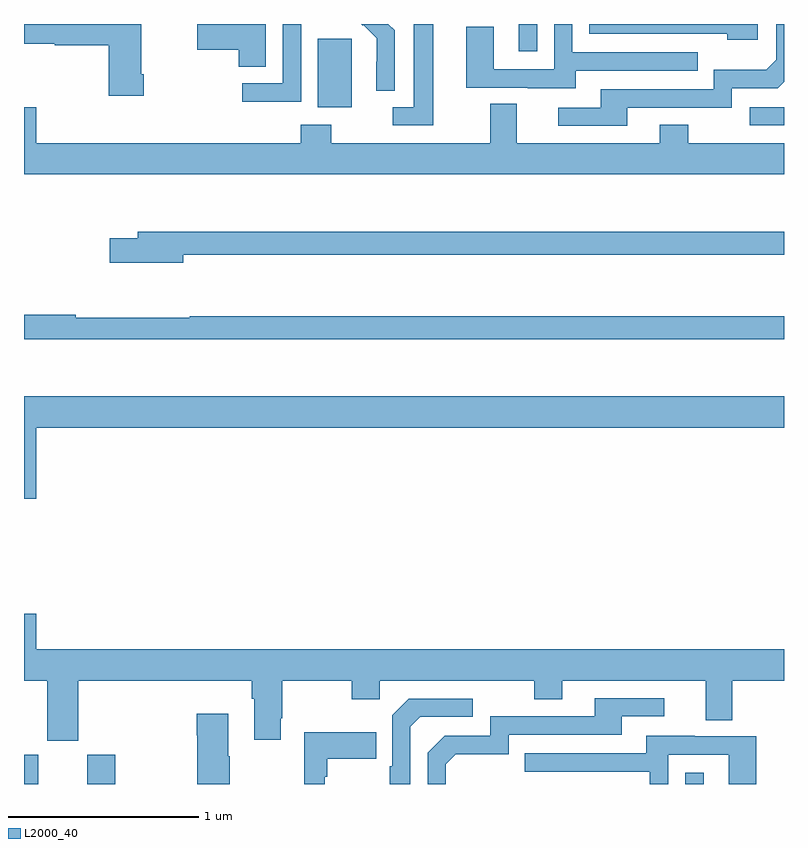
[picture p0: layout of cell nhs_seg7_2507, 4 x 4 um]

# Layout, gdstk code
import gdstk
lib = gdstk.Library(unit=1e-6, precision=1e-09)
def R(c, l, rs):  # rectangles x0, y0, x1, y1
    for r in rs: c.add(gdstk.rectangle(r[:2], r[2:], *l))
def P(c, l, *ps):  # polygons
    for p in ps: c.add(gdstk.Polygon(p, *l))
L2000_40 = (2000, 40)

nhs_seg7_2507 = lib.new_cell('nhs_seg7_2507')
R(nhs_seg7_2507, L2000_40, [(273,1072,273.076,1072.155), (273.332,1072,273.48,1072.155), (276.48,1072,276.577,1072.06), (276.819,1075.467,277,1075.563), (274.547,1075.562,274.726,1075.923), (275.603,1075.857,275.7,1076)])
P(nhs_seg7_2507, L2000_40, [(275.905,1075.755),(276.545,1075.755),(276.545,1075.851),(275.886,1075.851),(275.886,1076),(275.79,1076),(275.79,1075.761),(275.472,1075.761),(275.472,1075.985),(275.327,1075.985),(275.327,1075.665),(275.651,1075.665),(275.651,1075.661),(275.905,1075.661)],
  [(276.862,1076),(275.976,1076),(275.976,1075.95),(276.701,1075.95),(276.701,1075.916),(276.862,1075.916)],
  [(274.95,1075.966),(274.916,1076),(274.774,1076),(274.782,1075.992),(274.785,1075.995),(274.856,1075.925),(274.856,1075.802),(274.854,1075.802),(274.854,1075.648),(274.95,1075.648)],
  [(274.458,1076),(274.362,1076),(274.362,1075.689),(274.149,1075.689),(274.149,1075.591),(274.458,1075.591)],
  [(275.155,1076),(275.051,1076),(275.051,1075.563),(274.941,1075.563),(274.941,1075.467),(275.155,1075.467)],
  [(276.175,1075.56),(276.726,1075.56),(276.726,1075.662),(276.966,1075.662),(277,1075.696),(277,1076),(276.96,1076),(276.96,1075.812),(276.907,1075.759),(276.63,1075.759),(276.63,1075.656),(276.035,1075.656),(276.035,1075.56),(275.811,1075.56),(275.811,1075.464),(276.175,1075.464)],
  [(274.273,1076),(273.912,1076),(273.912,1075.865),(274.13,1075.865),(274.13,1075.774),(274.273,1075.774)],
  [(273.629,1075.735),(273.616,1075.735),(273.616,1076),(273,1076),(273,1075.896),(273.162,1075.896),(273.162,1075.888),(273.446,1075.888),(273.446,1075.623),(273.629,1075.623)],
  [(277,1075.372),(276.495,1075.372),(276.495,1075.471),(276.347,1075.471),(276.347,1075.372),(275.593,1075.372),(275.593,1075.58),(275.453,1075.58),(275.453,1075.372),(274.617,1075.372),(274.617,1075.471),(274.457,1075.471),(274.457,1075.372),(273.064,1075.372),(273.064,1075.561),(273,1075.561),(273,1075.208),(277,1075.208)],
  [(273.838,1074.786),(277,1074.786),(277,1074.907),(273.599,1074.907),(273.599,1074.873),(273.45,1074.873),(273.45,1074.743),(273.838,1074.743)],
  [(277,1074.463),(273.872,1074.463),(273.872,1074.455),(273.272,1074.455),(273.272,1074.47),(273,1074.47),(273,1074.342),(277,1074.342)],
  [(273.064,1073.876),(277,1073.876),(277,1074.04),(273,1074.04),(273,1073.502),(273.064,1073.502)],
  [(273.286,1072.544),(274.199,1072.544),(274.199,1072.448),(274.211,1072.448),(274.211,1072.233),(274.351,1072.233),(274.351,1072.345),(274.359,1072.345),(274.359,1072.544),(274.726,1072.544),(274.726,1072.445),(274.872,1072.445),(274.872,1072.544),(275.686,1072.544),(275.686,1072.445),(275.833,1072.445),(275.833,1072.544),(276.587,1072.544),(276.587,1072.336),(276.727,1072.336),(276.727,1072.544),(277,1072.544),(277,1072.708),(273.064,1072.708),(273.064,1072.897),(273,1072.897),(273,1072.544),(273.122,1072.544),(273.122,1072.227),(273.286,1072.227)],
  [(275.22,1072.104),(275.273,1072.157),(275.55,1072.157),(275.55,1072.26),(276.145,1072.26),(276.145,1072.356),(276.37,1072.356),(276.37,1072.452),(276.005,1072.452),(276.005,1072.356),(275.454,1072.356),(275.454,1072.254),(275.214,1072.254),(275.124,1072.164),(275.124,1072),(275.22,1072)],
  [(275.034,1072.302),(275.085,1072.353),(275.362,1072.353),(275.362,1072.449),(275.025,1072.449),(274.938,1072.362),(274.938,1072.093),(274.926,1072.093),(274.926,1072),(275.034,1072)],
  [(274.083,1072.145),(274.075,1072.145),(274.075,1072.369),(273.908,1072.369),(273.908,1072.256),(273.913,1072.256),(273.913,1072),(274.083,1072)],
  [(274.584,1072.037),(274.597,1072.037),(274.597,1072.133),(274.853,1072.133),(274.853,1072.273),(274.476,1072.273),(274.476,1072),(274.584,1072)],
  [(276.39,1072.155),(276.708,1072.155),(276.708,1072),(276.853,1072),(276.853,1072.251),(276.529,1072.251),(276.529,1072.255),(276.275,1072.255),(276.275,1072.161),(275.635,1072.161),(275.635,1072.065),(276.294,1072.065),(276.294,1072),(276.39,1072)])

lib.write_gds('nhs_seg7_2507.gds')
